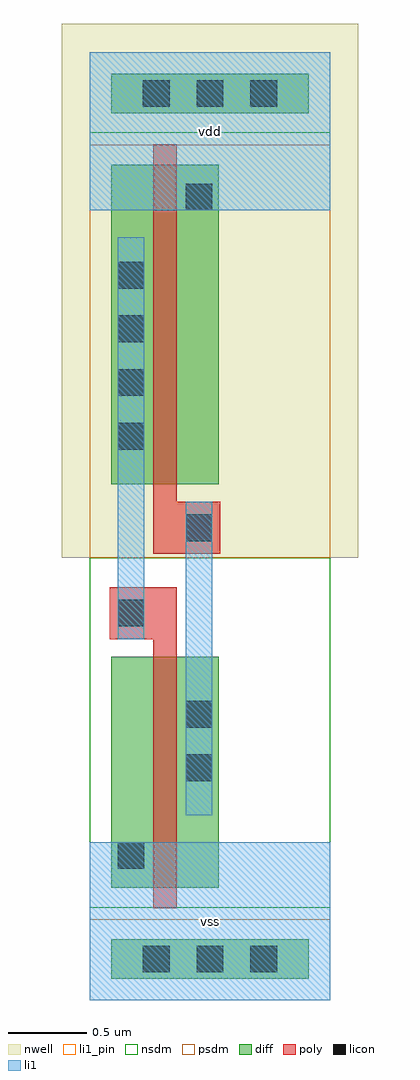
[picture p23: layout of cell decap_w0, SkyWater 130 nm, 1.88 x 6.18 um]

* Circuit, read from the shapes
.subckt decap_w0 vdd vss
XM1 n1 n2 vss VSUBS sky130_fd_pr__nfet_01v8 w=1.465 l=0.15
XM2 vdd n1 n2 n3 sky130_fd_pr__pfet_01v8 w=2.025 l=0.15
.ends

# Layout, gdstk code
import gdstk
lib = gdstk.Library(unit=1e-6, precision=1e-09)
def R(c, l, rs):  # rectangles x0, y0, x1, y1
    for r in rs: c.add(gdstk.rectangle(r[:2], r[2:], *l))
def A(c, l, x, y, w, h, nx, ny, dx, dy):  # array of equal rectangles
    R(c, l, [(x+i*dx, y+j*dy, x+i*dx+w, y+j*dy+h) for i in range(nx) for j in range(ny)])
def P(c, l, *ps):  # polygons
    for p in ps: c.add(gdstk.Polygon(p, *l))
nwell = (64, 20)
diff = (65, 20)
poly = (66, 20)
licon = (66, 44)
li1_pin = (67, 16)
li1 = (67, 20)
nsdm = (93, 44)
psdm = (94, 20)

decap_w0 = lib.new_cell('decap_w0')
R(decap_w0, nwell, [(-0.18,2.8,1.7,6.18)])
R(decap_w0, diff, [(0.135,0.135,1.385,0.385), (0.135,0.71,0.815,2.175), (0.135,3.265,0.815,5.29), (0.135,5.615,1.385,5.865)])
P(decap_w0, poly, [(0.4,0.58),(0.4,2.285),(0.125,2.285),(0.125,2.615),(0.55,2.615),(0.55,0.58)],
  [(0.4,2.825),(0.4,5.42),(0.55,5.42),(0.55,3.155),(0.825,3.155),(0.825,2.825)])
A(decap_w0, licon, 0.335, 0.175, 0.17, 0.17, 3, 2, 0.34, 5.48)
A(decap_w0, licon, 0.175, 3.485, 0.17, 0.17, 1, 4, 0, 0.34)
R(decap_w0, licon, [(0.175,0.83,0.345,1), (0.605,1.385,0.775,1.555), (0.605,1.725,0.775,1.895), (0.175,2.365,0.345,2.535), (0.605,2.905,0.775,3.075), (0.605,5,0.775,5.17)])
R(decap_w0, li1_pin, [(0,0,1.52,1), (0,5,1.52,6)])
R(decap_w0, li1, [(0,0,1.52,1), (0.605,1.17,0.775,3.155), (0.175,2.285,0.345,4.83), (0,5,1.52,6)])
R(decap_w0, nsdm, [(0,0.585,1.52,2.8), (0,5.49,1.52,6)])
R(decap_w0, psdm, [(0,0,1.52,0.51), (0,2.8,1.52,5.415)])
decap_w0.add(gdstk.Label('vss', (0.76,0.5), layer=67, texttype=16))
decap_w0.add(gdstk.Label('vdd', (0.76,5.5), layer=67, texttype=16))

lib.write_gds('decap_w0.gds')
